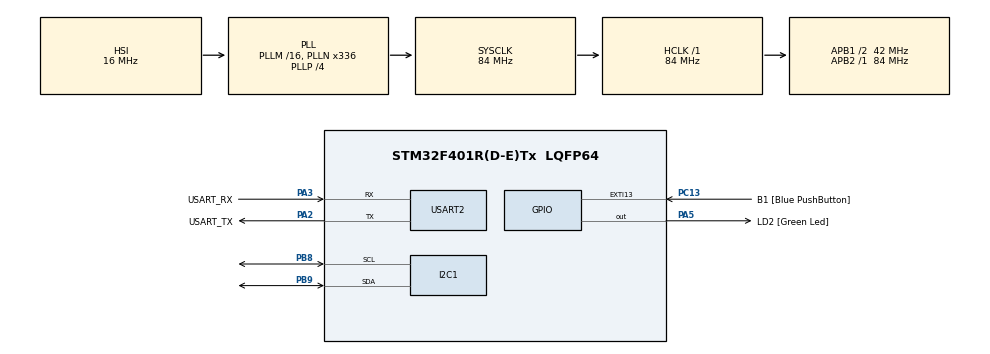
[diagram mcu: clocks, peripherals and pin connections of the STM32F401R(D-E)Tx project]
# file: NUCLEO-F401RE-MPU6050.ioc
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Mcu.Family=STM32F4
PC15-OSC32_OUT.Mode=LSE-External-Oscillator
PA2.GPIO_PuPd=GPIO_NOPULL
RCC.CortexFreq_Value=84000000
PC13-ANTI_TAMP.GPIO_PuPd=GPIO_NOPULL
PC13-ANTI_TAMP.GPIO_Label=B1 [Blue PushButton]
PA14.GPIO_Label=TCK
PA3.GPIO_PuPd=GPIO_NOPULL
PH1\ -\ OSC_OUT.Mode=HSE-External-Clock-Source
PA2.GPIO_Speed=GPIO_SPEED_FREQ_LOW
RCC.APB1CLKDivider=RCC_HCLK_DIV2
PC14-OSC32_IN.Signal=RCC_OSC32_IN
PA3.GPIO_Speed=GPIO_SPEED_FREQ_LOW
RCC.SYSCLKSource=RCC_SYSCLKSOURCE_PLLCLK
ProjectManager.StackSize=0x400
PA13.Signal=SYS_JTMS-SWDIO
PA3.Mode=Asynchronous
PH0\ -\ OSC_IN.Mode=HSE-External-Clock-Source
PH0\ -\ OSC_IN.Signal=RCC_OSC_IN
ProjectManager.TargetToolchain=STM32CubeIDE
I2C1.I2C_Mode=I2C_Fast
PA3.GPIO_Mode=GPIO_MODE_AF_PP
RCC.HCLKFreq_Value=84000000
PB9.Mode=I2C
RCC.APB2TimFreq_Value=84000000
PC15-OSC32_OUT.Signal=RCC_OSC32_OUT
RCC.AHBFreq_Value=84000000
PA5.Signal=GPIO_Output
RCC.HSE_VALUE=8000000
PH1\ -\ OSC_OUT.Signal=RCC_OSC_OUT
board=NUCLEO-F401RE
PC13-ANTI_TAMP.Signal=GPXTI13
RCC.VCOOutputFreq_Value=336000000
RCC.APB2Freq_Value=84000000
PC14-OSC32_IN.Mode=LSE-External-Oscillator
PA14.Mode=Serial_Wire
PA5.GPIO_PuPd=GPIO_NOPULL
PA13.Mode=Serial_Wire
Mcu.Name=STM32F401R(D-E)Tx
PA2.Signal=USART2_TX
PA13.GPIO_Label=TMS
RCC.48MHZClocksFreq_Value=48000000
PB3.Signal=SYS_JTDO-SWO
RCC.SYSCLKFreq_VALUE=84000000
Mcu.Package=LQFP64
PB9.Signal=I2C1_SDA
PA5.GPIO_Label=LD2 [Green Led]
USART2.VirtualMode=VM_ASYNC
PC13-ANTI_TAMP.GPIO_ModeDefaultEXTI=GPIO_MODE_IT_FALLING
PA2.GPIO_Label=USART_TX
PA14.Signal=SYS_JTCK-SWCLK
ProjectManager.HeapSize=0x200
RCC.HSI_VALUE=16000000
RCC.PLLP=RCC_PLLP_DIV4
PA5.GPIO_Speed=GPIO_SPEED_FREQ_LOW
RCC.PLLQ=7
NVIC.PriorityGroup=NVIC_PRIORITYGROUP_0
PB8.Mode=I2C
RCC.PLLN=336
RCC.APB1TimFreq_Value=84000000
PA2.Mode=Asynchronous
PB8.Signal=I2C1_SCL
RCC.APB1Freq_Value=42000000
PA5.GPIO_Mode=GPIO_MODE_OUTPUT_PP
PA3.GPIO_Label=USART_RX
PA3.Signal=USART2_RX
PA2.GPIO_Mode=GPIO_MODE_AF_PP
PB3.GPIO_Label=SWO

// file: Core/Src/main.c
/* USER CODE BEGIN Header */
/**
  ******************************************************************************
  * @file           : main.c
  * @brief          : Main program body
  ******************************************************************************
  * @attention
  *
  * <h2><center>&copy; Copyright (c) 2021 STMicroelectronics.
  * All rights reserved.</center></h2>
  *
  * This software component is licensed by ST under BSD 3-Clause license,
  * the "License"; You may not use this file except in compliance with the
  * License. You may obtain a copy of the License at:
  *                        opensource.org/licenses/BSD-3-Clause
  *
  ******************************************************************************
  */
/* USER CODE END Header */
#include "main.h"

/* USER CODE BEGIN Includes */
#include <string.h>
#include <stdio.h>
/* USER CODE END Includes */

I2C_HandleTypeDef hi2c1;

UART_HandleTypeDef huart2;

/* USER CODE BEGIN PV */
static const uint8_t MPU6050_ADDR = 0x68 << 1; // left shift the address by 1 since address is only 7 bits
static const uint8_t ACCEL_REG1 = 0x3B << 1; // acceleration values start from 0x3B up to 0x40
static const uint8_t ACCEL_REG2 = 0x3C << 1;
/* USER CODE END PV */

void SystemClock_Config(void);
static void MX_GPIO_Init(void);
static void MX_USART2_UART_Init(void);
static void MX_I2C1_Init(void);

int main(void)
{
  /* USER CODE BEGIN 1 */
	HAL_StatusTypeDef ret;
	uint8_t buf[40]; //why are we adding a 12 bit buffer?
	uint16_t val_raw; //this is the raw data before any processing
	float accel_final;
  /* USER CODE END 1 */

  /* MCU Configuration--------------------------------------------------------*/

  /* Reset of all peripherals, Initializes the Flash interface and the Systick. */
  HAL_Init();

  /* Configure the system clock */
  SystemClock_Config();

  /* Initialize all configured peripherals */
  MX_GPIO_Init();
  MX_USART2_UART_Init();
  MX_I2C1_Init();

  /* Infinite loop */
  /* USER CODE BEGIN WHILE */
  while (1)
  {
  	// Tell MPU that we want to read from the acceleration register 1
		buf[0] = ACCEL_REG1;
		ret = HAL_I2C_Master_Transmit(&hi2c1, MPU6050_ADDR, buf, 1, HAL_MAX_DELAY);
		if (ret != HAL_OK ){
			strcpy((char*)buf, "Error Tx1\r\n");
		} else {
			// read 1 byte from the acceleration 1 register
			ret = HAL_I2C_Master_Receive(&hi2c1, MPU6050_ADDR, buf, 1, HAL_MAX_DELAY);
			if (ret != HAL_OK ) {
				strcpy((char*)buf, "Error Rx1\r\n");
			} else {
				val_raw = (uint16_t)buf[0] ; //first section of an acceleration data set
			}
		}

		// Tell MPU that we want to read from the acceleration register 2
		buf[0] = ACCEL_REG2;
		ret = HAL_I2C_Master_Transmit(&hi2c1, MPU6050_ADDR, buf, 1, HAL_MAX_DELAY);
		if (ret != HAL_OK ){
			strcpy((char*)buf, "Error Tx2\r\n");
		} else {
			// read 1 byte from the acceleration 2 register
			ret = HAL_I2C_Master_Receive(&hi2c1, MPU6050_ADDR, buf, 1, HAL_MAX_DELAY);
			if (ret != HAL_OK ) {
				strcpy((char*)buf, "Error Rx2\r\n");
			} else {
				val_raw = (uint16_t)val_raw << 8 | (uint16_t)buf[0]; //first section of an acceleration data set
				accel_final = val_raw/16384.0; // convert from binary to degrees

				//convert acceleration into a string to be passed into the buffer
				accel_final *= 100;
				sprintf((char*)buf, "%u.%02u degrees\r\n", ((unsigned int)accel_final / 100), ((unsigned int)accel_final % 100)) ;
			}
		}

		HAL_UART_Transmit(&huart2, buf, strlen((char*)buf), HAL_MAX_DELAY); // prints the final acceleration value on serial port
		HAL_Delay(500);
    /* USER CODE END WHILE */

  }
}

void SystemClock_Config(void)
{
  RCC_OscInitTypeDef RCC_OscInitStruct = {0};
  RCC_ClkInitTypeDef RCC_ClkInitStruct = {0};

  /** Configure the main internal regulator output voltage
  */
  __HAL_RCC_PWR_CLK_ENABLE();
  __HAL_PWR_VOLTAGESCALING_CONFIG(PWR_REGULATOR_VOLTAGE_SCALE2);
  /** Initializes the RCC Oscillators according to the specified parameters
  * in the RCC_OscInitTypeDef structure.
  */
  RCC_OscInitStruct.OscillatorType = RCC_OSCILLATORTYPE_HSI;
  RCC_OscInitStruct.HSIState = RCC_HSI_ON;
  RCC_OscInitStruct.HSICalibrationValue = RCC_HSICALIBRATION_DEFAULT;
  RCC_OscInitStruct.PLL.PLLState = RCC_PLL_ON;
  RCC_OscInitStruct.PLL.PLLSource = RCC_PLLSOURCE_HSI;
  RCC_OscInitStruct.PLL.PLLM = 16;
  RCC_OscInitStruct.PLL.PLLN = 336;
  RCC_OscInitStruct.PLL.PLLP = RCC_PLLP_DIV4;
  RCC_OscInitStruct.PLL.PLLQ = 7;
  if (HAL_RCC_OscConfig(&RCC_OscInitStruct) != HAL_OK)
  {
    Error_Handler();
  }
  /** Initializes the CPU, AHB and APB buses clocks
  */
  RCC_ClkInitStruct.ClockType = RCC_CLOCKTYPE_HCLK|RCC_CLOCKTYPE_SYSCLK
                              |RCC_CLOCKTYPE_PCLK1|RCC_CLOCKTYPE_PCLK2;
  RCC_ClkInitStruct.SYSCLKSource = RCC_SYSCLKSOURCE_PLLCLK;
  RCC_ClkInitStruct.AHBCLKDivider = RCC_SYSCLK_DIV1;
  RCC_ClkInitStruct.APB1CLKDivider = RCC_HCLK_DIV2;
  RCC_ClkInitStruct.APB2CLKDivider = RCC_HCLK_DIV1;

  if (HAL_RCC_ClockConfig(&RCC_ClkInitStruct, FLASH_LATENCY_2) != HAL_OK)
  {
    Error_Handler();
  }
}

static void MX_I2C1_Init(void)
{

  hi2c1.Instance = I2C1;
  hi2c1.Init.ClockSpeed = 400000;
  hi2c1.Init.DutyCycle = I2C_DUTYCYCLE_2;
  hi2c1.Init.OwnAddress1 = 0;
  hi2c1.Init.AddressingMode = I2C_ADDRESSINGMODE_7BIT;
  hi2c1.Init.DualAddressMode = I2C_DUALADDRESS_DISABLE;
  hi2c1.Init.OwnAddress2 = 0;
  hi2c1.Init.GeneralCallMode = I2C_GENERALCALL_DISABLE;
  hi2c1.Init.NoStretchMode = I2C_NOSTRETCH_DISABLE;
  if (HAL_I2C_Init(&hi2c1) != HAL_OK)
  {
    Error_Handler();
  }

}

static void MX_USART2_UART_Init(void)
{

  huart2.Instance = USART2;
  huart2.Init.BaudRate = 115200;
  huart2.Init.WordLength = UART_WORDLENGTH_8B;
  huart2.Init.StopBits = UART_STOPBITS_1;
  huart2.Init.Parity = UART_PARITY_NONE;
  huart2.Init.Mode = UART_MODE_TX_RX;
  huart2.Init.HwFlowCtl = UART_HWCONTROL_NONE;
  huart2.Init.OverSampling = UART_OVERSAMPLING_16;
  if (HAL_UART_Init(&huart2) != HAL_OK)
  {
    Error_Handler();
  }

}

static void MX_GPIO_Init(void)
{
  GPIO_InitTypeDef GPIO_InitStruct = {0};

  /* GPIO Ports Clock Enable */
  __HAL_RCC_GPIOC_CLK_ENABLE();
  __HAL_RCC_GPIOH_CLK_ENABLE();
  __HAL_RCC_GPIOA_CLK_ENABLE();
  __HAL_RCC_GPIOB_CLK_ENABLE();

  /*Configure GPIO pin Output Level */
  HAL_GPIO_WritePin(LD2_GPIO_Port, LD2_Pin, GPIO_PIN_RESET);

  /*Configure GPIO pin : B1_Pin */
  GPIO_InitStruct.Pin = B1_Pin;
  GPIO_InitStruct.Mode = GPIO_MODE_IT_FALLING;
  GPIO_InitStruct.Pull = GPIO_NOPULL;
  HAL_GPIO_Init(B1_GPIO_Port, &GPIO_InitStruct);

  /*Configure GPIO pin : LD2_Pin */
  GPIO_InitStruct.Pin = LD2_Pin;
  GPIO_InitStruct.Mode = GPIO_MODE_OUTPUT_PP;
  GPIO_InitStruct.Pull = GPIO_NOPULL;
  GPIO_InitStruct.Speed = GPIO_SPEED_FREQ_LOW;
  HAL_GPIO_Init(LD2_GPIO_Port, &GPIO_InitStruct);

}

void Error_Handler(void)
{
  __disable_irq();
  while (1)
  {
  }
}

/************************ (C) COPYRIGHT STMicroelectronics *****END OF FILE****/
